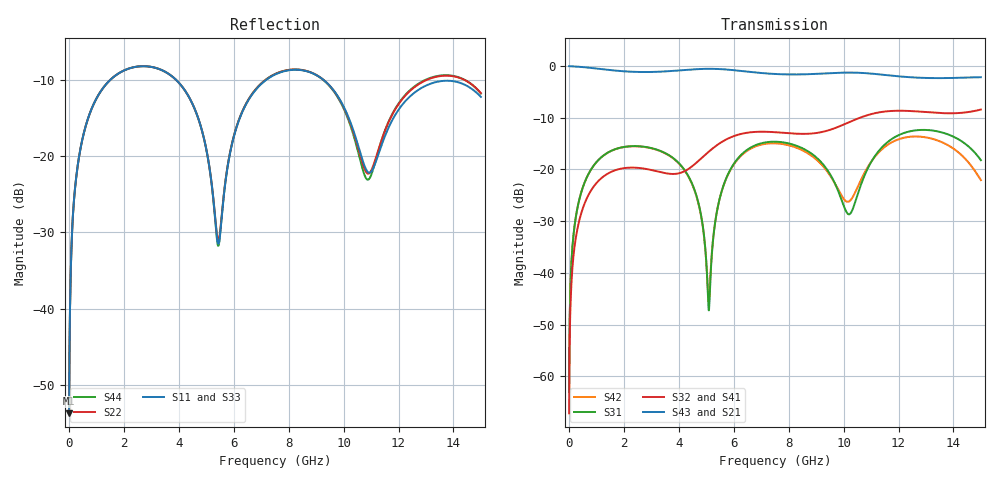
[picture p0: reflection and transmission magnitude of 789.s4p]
! Created with skrf 1.8.0 (http://scikit-rf.org).
# GHz S RI R 50.0
!freq ReS11 ImS11 ReS12 ImS12 ReS13 ImS13
! ReS14 ImS14
! ReS21 ImS21 ReS22 ImS22 ReS23 ImS23
! ReS24 ImS24
! ReS31 ImS31 ReS32 ImS32 ReS33 ImS33
! ReS34 ImS34
! ReS41 ImS41 ReS42 ImS42 ReS43 ImS43
! ReS44 ImS44
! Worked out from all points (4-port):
!   2499 points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, 5 MHz to 15 GHz, reference 50 ohm
!   strongest paths, dB at 5 MHz, 3.476 GHz, 7.19 GHz, 11.1 GHz, 15 GHz:
!     S43: 0.0, -1.0, -1.4, -1.5, -2.2
!     S21: 0.0, -1.0, -1.4, -1.5, -2.2
!     S32: -67.2, -20.7, -12.7, -9.2, -8.4
!     S41: -67.2, -20.8, -12.8, -9.2, -8.4
!     S31: -63.1, -16.7, -14.7, -17.7, -18.2
!     S42: -63.1, -16.8, -15.0, -17.8, -22.0
!   lowest |S11| = -53.7 dB at 5 MHz (marker M1), VSWR 1.00, Z = 50.2 + j0.125 ohm
!   |S11| at or under -10 dB: start of sweep to 1.506 GHz; 3.899 GHz to 7.186 GHz (3.288 GHz wide, 59.3 % of centre); 9.268 GHz to end of sweep
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0.005  0.00165 0.00125  0.9983 -0.00321  8.43e-05 0.000698  -8.16e-05 -0.000431
       0.9983 -0.00321  0.00165 0.00125  -8.16e-05 -0.000431  8.43e-05 0.000698
       8.43e-05 0.000698  -8.16e-05 -0.000431  0.00165 0.00125  0.9983 -0.00321
       -8.16e-05 -0.000431  8.43e-05 0.000698  0.9983 -0.00321  0.00165 0.00125
0.3126303  0.0243 0.0819  0.9668 -0.1995  0.0119 0.0414  -0.00975 -0.0253
           0.9668 -0.1995  0.0243 0.0819  -0.00976 -0.0252  0.0118 0.0414
           0.0119 0.0414  -0.00976 -0.0252  0.0243 0.0819  0.9668 -0.1994
           -0.00975 -0.0253  0.0118 0.0414  0.9668 -0.1994  0.0243 0.0819
1.569404  0.2731 0.1741  0.5391 -0.7344  0.1387 0.0643  -0.0955 -0.00428
          0.5391 -0.7344  0.2734 0.1739  -0.0957 -0.00404  0.1376 0.0659
          0.1387 0.0643  -0.0957 -0.00404  0.2729 0.1741  0.5392 -0.7344
          -0.0955 -0.00428  0.1376 0.0659  0.5392 -0.7344  0.2735 0.1738
5.089621  0.0421 -0.0801  -0.9013 -0.2707  -0.00431 -0.000564  -0.0402 0.1431
          -0.9013 -0.2707  0.043 -0.0798  -0.0366 0.1441  -0.00522 -0.000264
          -0.00431 -0.000564  -0.0366 0.1441  0.0438 -0.079  -0.9014 -0.2708
          -0.0402 0.1431  -0.00522 -0.000264  -0.9014 -0.2708  0.0409 -0.0797
8.491038  0.3633 -0.0381  0.0166 0.8307  0.13 -0.0948  0.2106 -0.0601
          0.0166 0.8307  0.3643 -0.0437  0.2102 -0.0685  0.1281 -0.085
          0.13 -0.0948  0.2102 -0.0685  0.3605 -0.0367  0.0157 0.8315
          0.2106 -0.0601  0.1281 -0.085  0.0157 0.8315  0.3637 -0.0439
11.21717  0.0896 0.0361  0.836 -0.0155  0.052 0.134  -0.0166 -0.3537
          0.836 -0.0155  0.0924 0.0456  -0.0326 -0.3522  0.0211 0.1389
          0.052 0.134  -0.0326 -0.3522  0.0942 0.0361  0.836 -0.0142
          -0.0166 -0.3537  0.0211 0.1389  0.836 -0.0142  0.0869 0.0513
15  0.2248 -0.0959  -0.3715 -0.6858  -0.00812 -0.1227  -0.3297 0.1871
    -0.3715 -0.6858  0.2233 -0.131  -0.3163 0.2103  -0.0112 -0.0783
    -0.00812 -0.1227  -0.3163 0.2103  0.2257 -0.0879  -0.368 -0.6884
    -0.3297 0.1871  -0.0112 -0.0783  -0.368 -0.6884  0.22 -0.1328
